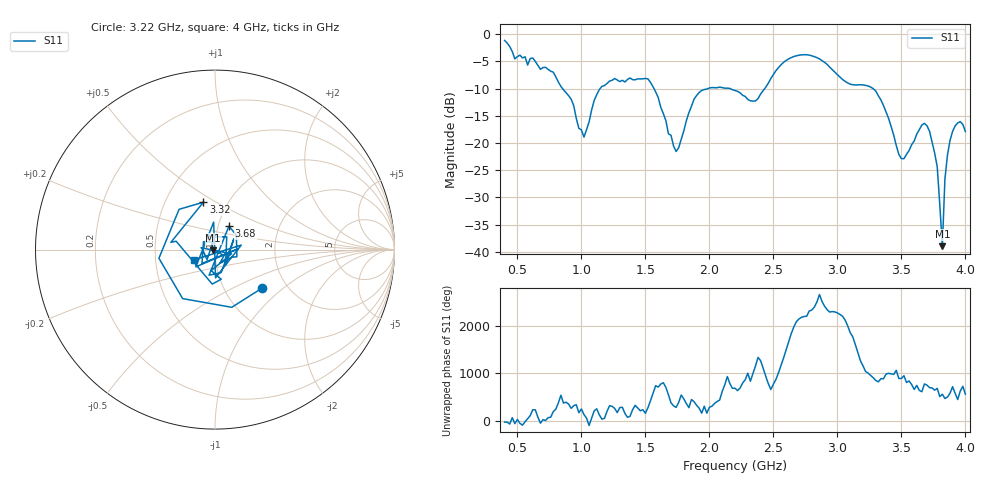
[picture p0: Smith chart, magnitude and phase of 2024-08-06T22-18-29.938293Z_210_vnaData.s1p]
!Created with skrf (http://scikit-rf.org).
# Hz S RI R 50.0
!freq ReS11 ImS11
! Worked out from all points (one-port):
!   181 points, 400 MHz to 4 GHz, reference 50 ohm
!   lowest |S11| = -39.0 dB at 3.82 GHz (marker M1), VSWR 1.02, Z = 49 - j0.451 ohm
!   |S11| at or under -10 dB: 853.2 MHz to 1.146 GHz (292.6 MHz wide, 29.3 % of centre); 1.567 GHz to 1.987 GHz (420.2 MHz wide, 23.6 % of centre); 3.28 GHz to end of sweep (the widest 3 of 4)
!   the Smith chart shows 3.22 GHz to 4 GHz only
!   S11 on the Smith chart (normalised r, x): 3.22 GHz: 1.50, -0.73; 3.32 GHz: 0.77, +0.44; 3.68 GHz: 1.13, +0.30; 4 GHz: 0.79, -0.09
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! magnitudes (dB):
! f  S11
! 400 MHz  -1.1
! 480 MHz  -4.5
! 620 MHz  -4.4
! 860 MHz  -10.2
! 1.02 GHz  -18.9
! 1.14 GHz  -10.2
! 1.3 GHz  -8.7
! 1.52 GHz  -8.2
! 1.72 GHz  -20.6
! 1.76 GHz  -20.9
! 1.92 GHz  -10.7
! 2.2 GHz  -10.3
! 2.36 GHz  -12.3
! 2.66 GHz  -4.1
! 2.86 GHz  -4.5
! 3.1 GHz  -9.2
! 3.22 GHz  -9.4
! 3.32 GHz  -11.3
! 3.48 GHz  -22.1
! 3.56 GHz  -21.4
! 3.68 GHz  -16.4
! 3.72 GHz  -17.8
! 3.78 GHz  -24.4
! 3.82 GHz  -39.0
! 3.84 GHz  -26.6
! 3.88 GHz  -19.5
! 3.94 GHz  -16.3
! 4 GHz  -17.9
